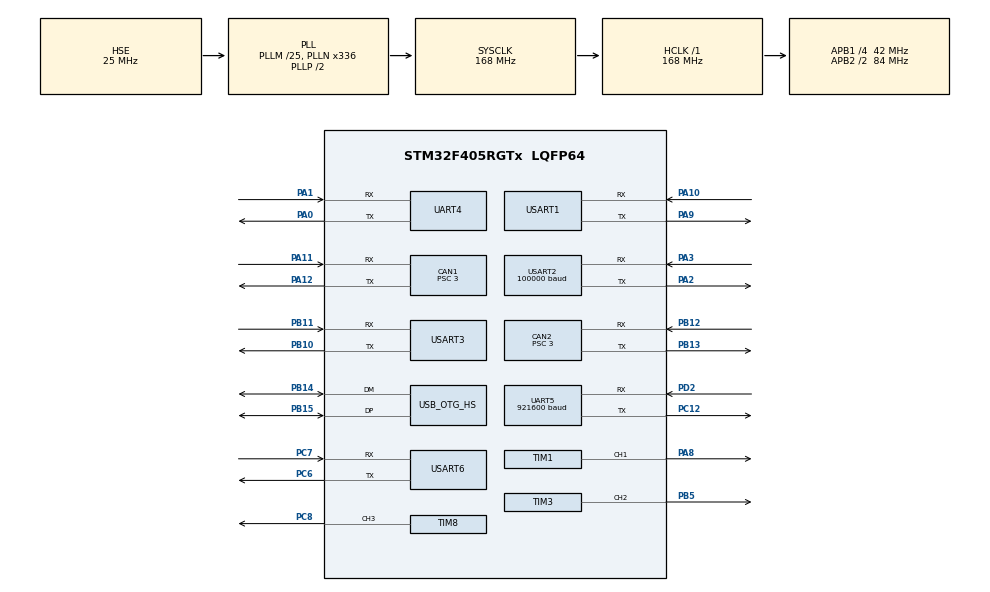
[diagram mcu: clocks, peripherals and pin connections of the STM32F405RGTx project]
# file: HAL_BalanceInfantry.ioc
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CAN1.ABOM=ENABLE
CAN1.AWUM=ENABLE
CAN1.BS1=CAN_BS1_10TQ
CAN1.BS2=CAN_BS2_3TQ
CAN1.CalculateBaudRate=1000000
CAN1.CalculateTimeBit=1000
CAN1.CalculateTimeQuantum=71.42857142857143
CAN1.NART=ENABLE
CAN1.Prescaler=3
CAN2.ABOM=ENABLE
CAN2.AWUM=ENABLE
CAN2.BS1=CAN_BS1_10TQ
CAN2.BS2=CAN_BS2_3TQ
CAN2.CalculateBaudRate=1000000
CAN2.CalculateTimeBit=1000
CAN2.CalculateTimeQuantum=71.42857142857143
CAN2.NART=ENABLE
CAN2.Prescaler=3
Dma.Request0=USART1_RX
Dma.Request1=USART2_RX
Dma.Request2=UART4_RX
Dma.Request3=UART5_RX
Dma.Request4=TIM1_CH1
Dma.Request5=UART4_TX
Dma.TIM1_CH1.4.Direction=DMA_MEMORY_TO_PERIPH
Dma.TIM1_CH1.4.FIFOMode=DMA_FIFOMODE_DISABLE
Dma.TIM1_CH1.4.Instance=DMA2_Stream1
Dma.TIM1_CH1.4.MemDataAlignment=DMA_MDATAALIGN_HALFWORD
Dma.TIM1_CH1.4.MemInc=DMA_MINC_ENABLE
Dma.TIM1_CH1.4.Mode=DMA_CIRCULAR
Dma.TIM1_CH1.4.PeriphDataAlignment=DMA_PDATAALIGN_HALFWORD
Dma.TIM1_CH1.4.PeriphInc=DMA_PINC_DISABLE
Dma.TIM1_CH1.4.Priority=DMA_PRIORITY_LOW
Dma.UART4_RX.2.Direction=DMA_PERIPH_TO_MEMORY
Dma.UART4_RX.2.FIFOMode=DMA_FIFOMODE_DISABLE
Dma.UART4_RX.2.Instance=DMA1_Stream2
Dma.UART4_RX.2.MemDataAlignment=DMA_MDATAALIGN_BYTE
Dma.UART4_RX.2.MemInc=DMA_MINC_ENABLE
Dma.UART4_RX.2.Mode=DMA_CIRCULAR
Dma.UART4_RX.2.PeriphDataAlignment=DMA_PDATAALIGN_BYTE
Dma.UART4_RX.2.PeriphInc=DMA_PINC_DISABLE
Dma.UART4_RX.2.Priority=DMA_PRIORITY_HIGH
Dma.UART4_TX.5.Direction=DMA_MEMORY_TO_PERIPH
Dma.UART4_TX.5.FIFOMode=DMA_FIFOMODE_DISABLE
Dma.UART4_TX.5.Instance=DMA1_Stream4
Dma.UART4_TX.5.MemDataAlignment=DMA_MDATAALIGN_BYTE
Dma.UART4_TX.5.MemInc=DMA_MINC_ENABLE
Dma.UART4_TX.5.Mode=DMA_NORMAL
Dma.UART4_TX.5.PeriphDataAlignment=DMA_PDATAALIGN_BYTE
Dma.UART4_TX.5.PeriphInc=DMA_PINC_DISABLE
Dma.UART4_TX.5.Priority=DMA_PRIORITY_LOW
Dma.UART5_RX.3.Direction=DMA_PERIPH_TO_MEMORY
Dma.UART5_RX.3.FIFOMode=DMA_FIFOMODE_DISABLE
Dma.UART5_RX.3.Instance=DMA1_Stream0
Dma.UART5_RX.3.MemDataAlignment=DMA_MDATAALIGN_BYTE
Dma.UART5_RX.3.MemInc=DMA_MINC_ENABLE
Dma.UART5_RX.3.Mode=DMA_NORMAL
Dma.UART5_RX.3.PeriphDataAlignment=DMA_PDATAALIGN_BYTE
Dma.UART5_RX.3.PeriphInc=DMA_PINC_DISABLE
Dma.UART5_RX.3.Priority=DMA_PRIORITY_HIGH
Dma.USART1_RX.0.Direction=DMA_PERIPH_TO_MEMORY
Dma.USART1_RX.0.FIFOMode=DMA_FIFOMODE_DISABLE
Dma.USART1_RX.0.Instance=DMA2_Stream2
Dma.USART1_RX.0.MemDataAlignment=DMA_MDATAALIGN_BYTE
Dma.USART1_RX.0.MemInc=DMA_MINC_ENABLE
Dma.USART1_RX.0.Mode=DMA_CIRCULAR
Dma.USART1_RX.0.PeriphDataAlignment=DMA_PDATAALIGN_BYTE
Dma.USART1_RX.0.PeriphInc=DMA_PINC_DISABLE
Dma.USART1_RX.0.Priority=DMA_PRIORITY_HIGH
Dma.USART2_RX.1.Direction=DMA_PERIPH_TO_MEMORY
Dma.USART2_RX.1.FIFOMode=DMA_FIFOMODE_ENABLE
Dma.USART2_RX.1.FIFOThreshold=DMA_FIFO_THRESHOLD_HALFFULL
Dma.USART2_RX.1.Instance=DMA1_Stream5
Dma.USART2_RX.1.MemBurst=DMA_MBURST_INC8
Dma.USART2_RX.1.MemDataAlignment=DMA_MDATAALIGN_BYTE
Dma.USART2_RX.1.MemInc=DMA_MINC_ENABLE
Dma.USART2_RX.1.Mode=DMA_CIRCULAR
Dma.USART2_RX.1.PeriphBurst=DMA_PBURST_SINGLE
Dma.USART2_RX.1.PeriphDataAlignment=DMA_PDATAALIGN_BYTE
Dma.USART2_RX.1.PeriphInc=DMA_PINC_DISABLE
Dma.USART2_RX.1.Priority=DMA_PRIORITY_VERY_HIGH
FREERTOS.INCLUDE_vTaskDelayUntil=1
FREERTOS.Tasks01=defaultTask,0,128,StartDefaultTask,Default,NULL,Dynamic,NULL,NULL;system_state_ta,3,256,SYSTEM_STATE_TASK,Default,NULL,Dynamic,NULL,NULL;chassis_task,2,256,CHASSIS_TASK,Default,NULL,Dynamic,NULL,NULL;gimbal_task,2,256,GIMBAL_TASK,Default,NULL,Dynamic,NULL,NULL;imu_task,3,128,IMU_TASK,Default,NULL,Dynamic,NULL,NULL;shoot_task,2,256,SHOOT_TASK,Default,NULL,Dynamic,NULL,NULL;visual_task,3,128,VISUAL_TASK,Default,NULL,Dynamic,NULL,NULL
Mcu.Family=STM32F4
Mcu.Name=STM32F405RGTx
Mcu.Package=LQFP64
NVIC.CAN1_RX0_IRQn=true\:5\:0\:false\:false\:true\:true\:true\:true\:true
NVIC.CAN2_RX0_IRQn=true\:5\:0\:false\:false\:true\:true\:true\:true\:true
NVIC.DMA1_Stream0_IRQn=true\:5\:0\:false\:false\:true\:true\:false\:true\:true
NVIC.DMA1_Stream2_IRQn=true\:5\:0\:false\:false\:true\:true\:false\:true\:true
NVIC.DMA1_Stream4_IRQn=true\:5\:0\:false\:false\:true\:true\:false\:true\:true
NVIC.DMA1_Stream5_IRQn=true\:5\:0\:false\:false\:true\:true\:false\:true\:true
NVIC.DMA2_Stream1_IRQn=true\:5\:0\:false\:false\:true\:true\:false\:true\:true
NVIC.DMA2_Stream2_IRQn=true\:5\:0\:false\:false\:true\:true\:false\:true\:true
NVIC.OTG_HS_IRQn=true\:5\:0\:false\:false\:true\:true\:false\:true\:true
NVIC.PriorityGroup=NVIC_PRIORITYGROUP_4
NVIC.TIM2_IRQn=true\:5\:0\:false\:false\:true\:true\:true\:true\:true
NVIC.TIM3_IRQn=true\:5\:0\:false\:false\:true\:true\:true\:true\:true
NVIC.TIM8_TRG_COM_TIM14_IRQn=true\:5\:0\:false\:false\:true\:false\:false\:true\:true
NVIC.TimeBase=TIM8_TRG_COM_TIM14_IRQn
NVIC.TimeBaseIP=TIM14
NVIC.UART4_IRQn=true\:5\:0\:false\:false\:true\:true\:true\:true\:true
NVIC.UART5_IRQn=true\:5\:0\:false\:false\:true\:true\:true\:true\:true
NVIC.USART1_IRQn=true\:5\:0\:false\:false\:true\:true\:true\:true\:true
NVIC.USART2_IRQn=true\:5\:0\:false\:false\:true\:true\:true\:true\:true
NVIC.USART3_IRQn=true\:5\:0\:false\:false\:true\:true\:true\:true\:true
NVIC.USART6_IRQn=true\:5\:0\:false\:false\:true\:true\:true\:true\:true
PA0-WKUP.Mode=Asynchronous
PA0-WKUP.Signal=UART4_TX
PA1.Mode=Asynchronous
PA1.Signal=UART4_RX
PA10.Mode=Asynchronous
PA10.Signal=USART1_RX
PA11.Mode=CAN_Activate
PA11.Signal=CAN1_RX
PA12.Mode=CAN_Activate
PA12.Signal=CAN1_TX
PA13.Mode=Serial_Wire
PA13.Signal=SYS_JTMS-SWDIO
PA14.Mode=Serial_Wire
PA14.Signal=SYS_JTCK-SWCLK
PA2.Mode=Asynchronous
PA2.Signal=USART2_TX
PA3.Mode=Asynchronous
PA3.Signal=USART2_RX
PA8.Signal=S_TIM1_CH1
PA9.Mode=Asynchronous
PA9.Signal=USART1_TX
PB10.Mode=Asynchronous
PB10.Signal=USART3_TX
PB11.Mode=Asynchronous
PB11.Signal=USART3_RX
PB12.Mode=CAN_Activate
PB12.Signal=CAN2_RX
PB13.Mode=CAN_Activate
PB13.Signal=CAN2_TX
PB14.Mode=Device_Only_FS
PB14.Signal=USB_OTG_HS_DM
PB15.Mode=Device_Only_FS
PB15.Signal=USB_OTG_HS_DP
PB5.Signal=S_TIM3_CH2
PC12.Mode=Asynchronous
PC12.Signal=UART5_TX
PC6.Mode=Asynchronous
PC6.Signal=USART6_TX
PC7.Mode=Asynchronous
PC7.Signal=USART6_RX
PC8.Signal=S_TIM8_CH3
PD2.Mode=Asynchronous
PD2.Signal=UART5_RX
PH0-OSC_IN.Mode=HSE-External-Oscillator
PH0-OSC_IN.Signal=RCC_OSC_IN
PH1-OSC_OUT.Mode=HSE-External-Oscillator
PH1-OSC_OUT.Signal=RCC_OSC_OUT
ProjectManager.HeapSize=0x200
ProjectManager.StackSize=0x400
ProjectManager.TargetToolchain=MDK-ARM V5.32
RCC.48MHZClocksFreq_Value=48000000
RCC.AHBFreq_Value=168000000
RCC.APB1CLKDivider=RCC_HCLK_DIV4
RCC.APB1Freq_Value=42000000
RCC.APB1TimFreq_Value=84000000
RCC.APB2CLKDivider=RCC_HCLK_DIV2
RCC.APB2Freq_Value=84000000
RCC.APB2TimFreq_Value=168000000
RCC.CortexFreq_Value=168000000
RCC.HCLKFreq_Value=168000000
RCC.HSE_VALUE=25000000
RCC.HSI_VALUE=16000000
RCC.LSE_VALUE=32768
RCC.PLLM=25
RCC.PLLN=336
RCC.PLLQ=7
RCC.SYSCLKFreq_VALUE=168000000
RCC.SYSCLKSource=RCC_SYSCLKSOURCE_PLLCLK
RCC.VCOOutputFreq_Value=336000000
SH.S_TIM1_CH1.0=TIM1_CH1,PWM Generation1 CH1
SH.S_TIM3_CH2.0=TIM3_CH2,PWM Generation2 CH2
SH.S_TIM8_CH3.0=TIM8_CH3,PWM Generation3 CH3
TIM1.AutoReloadPreload=TIM_AUTORELOAD_PRELOAD_ENABLE
TIM1.Channel-PWM\ Generation1\ CH1=TIM_CHANNEL_1
TIM1.Period=210-1
TIM2.Period=3000-1
TIM2.Prescaler=84-1
TIM3.Channel-PWM\ Generation2\ CH2=TIM_CHANNEL_2
TIM3.Period=20000-1
TIM3.Prescaler=84-1
TIM8.Channel-PWM\ Generation3\ CH3=TIM_CHANNEL_3
TIM8.Period=20000-1
TIM8.Prescaler=168-1
UART4.VirtualMode=Asynchronous
UART5.BaudRate=921600
UART5.VirtualMode=Asynchronous
USART1.VirtualMode=VM_ASYNC
USART2.BaudRate=100000
USART2.Mode=MODE_TX_RX
USART2.Parity=PARITY_EVEN
USART2.VirtualMode=VM_ASYNC
USART2.WordLength=WORDLENGTH_9B
USART3.VirtualMode=VM_ASYNC
USART6.VirtualMode=VM_ASYNC
USB_DEVICE.CLASS_NAME_HS=CDC
USB_DEVICE.VirtualMode-CDC_HS=Cdc
USB_DEVICE.VirtualModeHS=Cdc_HS
USB_OTG_HS.VirtualMode-Device_Only_FS=Device_Only_FS
VP_FREERTOS_VS_CMSIS_V1.Mode=CMSIS_V1
VP_SYS_VS_tim14.Mode=TIM14
VP_TIM2_VS_ClockSourceINT.Mode=Internal
VP_USB_DEVICE_VS_USB_DEVICE_CDC_HS.Mode=CDC_HS
board=custom

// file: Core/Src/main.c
/* USER CODE BEGIN Header */
/**
  ******************************************************************************
  * @file           : main.c
  * @brief          : Main program body
  ******************************************************************************
  * @attention
  *
  * Copyright (c) 2023 STMicroelectronics.
  * All rights reserved.
  *
  * This software is licensed under terms that can be found in the LICENSE file
  * in the root directory of this software component.
  * If no LICENSE file comes with this software, it is provided AS-IS.
  *
  ******************************************************************************
  */
/* USER CODE END Header */
#include "main.h"
#include "cmsis_os.h"
#include "can.h"
#include "dma.h"
#include "tim.h"
#include "usart.h"
#include "usb_device.h"
#include "gpio.h"

/* USER CODE BEGIN Includes */
// #include "Device.h"
 #include "driver.h"
 #include "device.h"
 #include "system.h"
// #include "stm32f4xx_hal.h"
/* USER CODE END Includes */

/* USER CODE BEGIN PV */
extern struct SolveTrajectoryParams st;

/* USER CODE END PV */

void SystemClock_Config(void);
void MX_FREERTOS_Init(void);

int main(void)
{

  /* MCU Configuration--------------------------------------------------------*/

  /* Reset of all peripherals, Initializes the Flash interface and the Systick. */
  HAL_Init();

  /* Configure the system clock */
  SystemClock_Config();

  /* Initialize all configured peripherals */
  MX_GPIO_Init();
  MX_DMA_Init();
  MX_CAN1_Init();
  MX_CAN2_Init();
  MX_USART1_UART_Init();
  MX_USART2_UART_Init();
  MX_UART4_Init();
  MX_USART3_UART_Init();
  MX_UART5_Init();
  MX_USART6_UART_Init();
  MX_TIM2_Init();
  MX_TIM8_Init();
  MX_TIM1_Init();
  MX_TIM3_Init();
  /* USER CODE BEGIN 2 */
	Driver_Init();
	Motor_Init();
  Time_Init();
	Vision_Init();
//	HAL_TIM_PWM_Start(&htim3,TIM_CHANNEL_2);
//定义参数
	st.k = 0.092f;
	st.bullet_type =  BULLET_17;
	st.current_v = 25;
	st.current_pitch = 0;
	st.current_yaw = 0;
//	st.xw = 3.0;
//	// st.yw = 0.0159;
//	st.yw = 0;
//	// st.zw = -0.2898;
//	st.zw = 1.5;

//	st.vxw = 0;
//	st.vyw = 0;
//	st.vzw = 0;
//	st.v_yaw = 0;
//	st.tar_yaw = 0.09131;
//	st.r1 = 0.5;
//	st.r2 = 0.5;
//	st.dz = 0.1;
	st.bias_time = 50;
	st.s_bias = 0;
	st.z_bias = -0.05;
	st.armor_id = ARMOR_INFANTRY3;
	st.armor_num = ARMOR_NUM_NORMAL;
  /* USER CODE END 2 */

  /* Call init function for freertos objects (in cmsis_os2.c) */
  MX_FREERTOS_Init();

  /* Start scheduler */
  osKernelStart();

  /* We should never get here as control is now taken by the scheduler */

  /* Infinite loop */
  while (1)
  {

  }
}

void SystemClock_Config(void)
{
  RCC_OscInitTypeDef RCC_OscInitStruct = {0};
  RCC_ClkInitTypeDef RCC_ClkInitStruct = {0};

  /** Configure the main internal regulator output voltage
  */
  __HAL_RCC_PWR_CLK_ENABLE();
  __HAL_PWR_VOLTAGESCALING_CONFIG(PWR_REGULATOR_VOLTAGE_SCALE1);

  /** Initializes the RCC Oscillators according to the specified parameters
  * in the RCC_OscInitTypeDef structure.
  */
  RCC_OscInitStruct.OscillatorType = RCC_OSCILLATORTYPE_HSE;
  RCC_OscInitStruct.HSEState = RCC_HSE_ON;
  RCC_OscInitStruct.PLL.PLLState = RCC_PLL_ON;
  RCC_OscInitStruct.PLL.PLLSource = RCC_PLLSOURCE_HSE;
  RCC_OscInitStruct.PLL.PLLM = 25;
  RCC_OscInitStruct.PLL.PLLN = 336;
  RCC_OscInitStruct.PLL.PLLP = RCC_PLLP_DIV2;
  RCC_OscInitStruct.PLL.PLLQ = 7;
  if (HAL_RCC_OscConfig(&RCC_OscInitStruct) != HAL_OK)
  {
    Error_Handler();
  }

  /** Initializes the CPU, AHB and APB buses clocks
  */
  RCC_ClkInitStruct.ClockType = RCC_CLOCKTYPE_HCLK|RCC_CLOCKTYPE_SYSCLK
                              |RCC_CLOCKTYPE_PCLK1|RCC_CLOCKTYPE_PCLK2;
  RCC_ClkInitStruct.SYSCLKSource = RCC_SYSCLKSOURCE_PLLCLK;
  RCC_ClkInitStruct.AHBCLKDivider = RCC_SYSCLK_DIV1;
  RCC_ClkInitStruct.APB1CLKDivider = RCC_HCLK_DIV4;
  RCC_ClkInitStruct.APB2CLKDivider = RCC_HCLK_DIV2;

  if (HAL_RCC_ClockConfig(&RCC_ClkInitStruct, FLASH_LATENCY_5) != HAL_OK)
  {
    Error_Handler();
  }
}

void HAL_TIM_PeriodElapsedCallback(TIM_HandleTypeDef *htim)
{
  if (htim->Instance == TIM14) {
    HAL_IncTick();
  }
}

void Error_Handler(void)
{
  __disable_irq();
  while (1)
  {
  }
}

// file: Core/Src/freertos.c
/* USER CODE BEGIN Header */
/**
  ******************************************************************************
  * File Name          : freertos.c
  * Description        : Code for freertos applications
  ******************************************************************************
  * @attention
  *
  * Copyright (c) 2023 STMicroelectronics.
  * All rights reserved.
  *
  * This software is licensed under terms that can be found in the LICENSE file
  * in the root directory of this software component.
  * If no LICENSE file comes with this software, it is provided AS-IS.
  *
  ******************************************************************************
  */
/* USER CODE END Header */

#include "FreeRTOS.h"
#include "task.h"
#include "main.h"
#include "cmsis_os.h"

/* USER CODE BEGIN Includes */
#include "Device.h"
#include "tim.h"
#include "usart.h"

/* USER CODE END Includes */

osThreadId defaultTaskHandle;
osThreadId system_state_taHandle;
osThreadId chassis_taskHandle;
osThreadId gimbal_taskHandle;
osThreadId imu_taskHandle;
osThreadId shoot_taskHandle;
osThreadId visual_taskHandle;

void StartDefaultTask(void const * argument);
void SYSTEM_STATE_TASK(void const * argument);
void CHASSIS_TASK(void const * argument);
void GIMBAL_TASK(void const * argument);
void IMU_TASK(void const * argument);
void SHOOT_TASK(void const * argument);
void VISUAL_TASK(void const * argument);

extern void MX_USB_DEVICE_Init(void);
void MX_FREERTOS_Init(void); /* (MISRA C 2004 rule 8.1) */

/* GetIdleTaskMemory prototype (linked to static allocation support) */
void vApplicationGetIdleTaskMemory( StaticTask_t **ppxIdleTaskTCBBuffer, StackType_t **ppxIdleTaskStackBuffer, uint32_t *pulIdleTaskStackSize );

/* USER CODE BEGIN GET_IDLE_TASK_MEMORY */
static StaticTask_t xIdleTaskTCBBuffer;
static StackType_t xIdleStack[configMINIMAL_STACK_SIZE];

void vApplicationGetIdleTaskMemory( StaticTask_t **ppxIdleTaskTCBBuffer, StackType_t **ppxIdleTaskStackBuffer, uint32_t *pulIdleTaskStackSize )
{
  *ppxIdleTaskTCBBuffer = &xIdleTaskTCBBuffer;
  *ppxIdleTaskStackBuffer = &xIdleStack[0];
  *pulIdleTaskStackSize = configMINIMAL_STACK_SIZE;
  /* place for user code */
}
/* USER CODE END GET_IDLE_TASK_MEMORY */

void MX_FREERTOS_Init(void) {

  /* Create the thread(s) */
  /* definition and creation of defaultTask */
  osThreadDef(defaultTask, StartDefaultTask, osPriorityNormal, 0, 128);
  defaultTaskHandle = osThreadCreate(osThread(defaultTask), NULL);

  /* definition and creation of system_state_ta */
  osThreadDef(system_state_ta, SYSTEM_STATE_TASK, osPriorityRealtime, 0, 256);
  system_state_taHandle = osThreadCreate(osThread(system_state_ta), NULL);

  /* definition and creation of chassis_task */
  osThreadDef(chassis_task, CHASSIS_TASK, osPriorityHigh, 0, 256);
  chassis_taskHandle = osThreadCreate(osThread(chassis_task), NULL);

  /* definition and creation of gimbal_task */
  osThreadDef(gimbal_task, GIMBAL_TASK, osPriorityHigh, 0, 256);
  gimbal_taskHandle = osThreadCreate(osThread(gimbal_task), NULL);

  /* definition and creation of imu_task */
  osThreadDef(imu_task, IMU_TASK, osPriorityRealtime, 0, 128);
  imu_taskHandle = osThreadCreate(osThread(imu_task), NULL);

  /* definition and creation of shoot_task */
  osThreadDef(shoot_task, SHOOT_TASK, osPriorityHigh, 0, 256);
  shoot_taskHandle = osThreadCreate(osThread(shoot_task), NULL);

  /* definition and creation of visual_task */
  osThreadDef(visual_task, VISUAL_TASK, osPriorityRealtime, 0, 128);
  visual_taskHandle = osThreadCreate(osThread(visual_task), NULL);

}

void StartDefaultTask(void const * argument)
{
  /* init code for USB_DEVICE */
  MX_USB_DEVICE_Init();
  for(;;)
  {
    osDelay(1);
  }
}

void SYSTEM_STATE_TASK(void const * argument)
{
  /* USER CODE BEGIN SYSTEM_STATE_TASK */
	#if(MCU ==DOWN)
		vTaskDelete(gimbal_taskHandle);
	#endif
  /* Infinite loop */
  uint32_t currentTime;
  for(;;)
  {
    currentTime = xTaskGetTickCount();//当前系统时间
		System_Task();
    vTaskDelayUntil(&currentTime, 1);//绝对延时
  }
  /* USER CODE END SYSTEM_STATE_TASK */
}

void CHASSIS_TASK(void const * argument)
{
  /* USER CODE BEGIN CHASSIS_TASK */
	#if(MCU ==UP)
		vTaskDelete(chassis_taskHandle);
	#endif
  /* Infinite loop */
	uint32_t currentTime;
  for(;;)
  {
    currentTime = xTaskGetTickCount();//当前系统时间
		Chassis_Task();
    vTaskDelayUntil(&currentTime, 3);//绝对延时
  }
  /* USER CODE END CHASSIS_TASK */
}

void GIMBAL_TASK(void const * argument)
{
  /* USER CODE BEGIN GIMBAL_TASK */
	#if(MCU ==DOWN)
		vTaskDelete(gimbal_taskHandle);
	#endif
  /* Infinite loop */
	uint32_t currentTime;
  for(;;)
  {
		currentTime = xTaskGetTickCount();//当前系统时间
		Gimbal_Task();
    vTaskDelayUntil(&currentTime, 3);//绝对延时
	}
  /* USER CODE END GIMBAL_TASK */
}

void IMU_TASK(void const * argument)
{
  /* USER CODE BEGIN IMU_TASK */
	#if(MCU ==DOWN)
		vTaskDelete(imu_taskHandle);
	#endif
  /* Infinite loop */
		uint32_t currentTime;
  for(;;)
  {
		currentTime = xTaskGetTickCount();//当前系统时间
		IMU_get();
		vTaskDelayUntil(&currentTime, 1);//绝对延时
	}
  /* USER CODE END IMU_TASK */
}

void SHOOT_TASK(void const * argument)
{
  /* USER CODE BEGIN SHOOT_TASK */
	#if(MCU ==DOWN)
		vTaskDelete(shoot_taskHandle);
	#endif
  /* Infinite loop */
	uint32_t currentTime;
  for(;;)
  {
		currentTime = xTaskGetTickCount();
//		Shoot_Task();
		vTaskDelayUntil(&currentTime, 3);//绝对延时
  }
  /* USER CODE END SHOOT_TASK */
}

/* USER CODE BEGIN Header_VISUAL_TASK */
/**
* @brief Function implementing the visual_task thread.
* @param argument: Not used
* @retval None
*/
uint8_t test[2]={0x01,0x02};
/* USER CODE END Header_VISUAL_TASK */
void VISUAL_TASK(void const * argument)
{
  /* USER CODE BEGIN VISUAL_TASK */
	#if(MCU ==DOWN)
		vTaskDelete(visual_taskHandle);
	#endif
  /* Infinite loop */
	uint32_t currentTime;
  for(;;)
  {
		currentTime = xTaskGetTickCount();//当前系统时间
		Visual_Task();
    vTaskDelayUntil(&currentTime, 2);//绝对延时
  }
  /* USER CODE END VISUAL_TASK */
}
